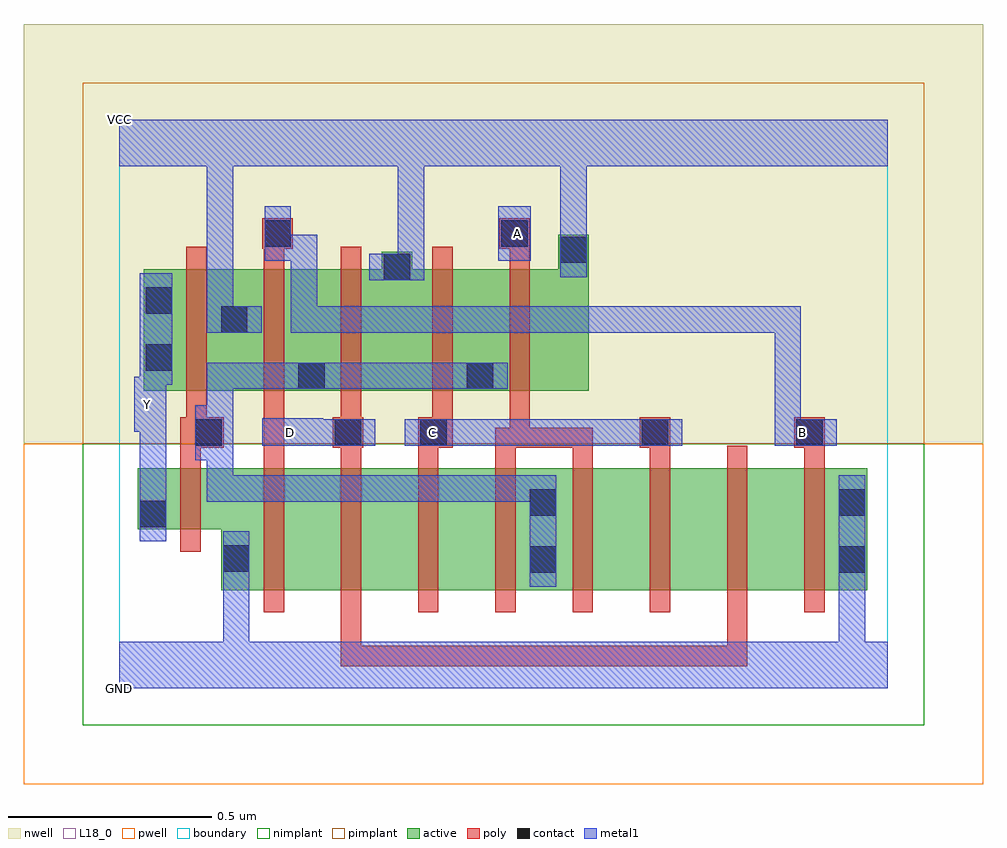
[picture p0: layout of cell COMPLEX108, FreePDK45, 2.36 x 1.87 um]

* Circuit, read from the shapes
.subckt COMPLEX108 A B C D GND VCC Y
M1 GND n1 Y VSUBS nfet w=0.15u l=0.05u
M2 n2 B GND VSUBS nfet w=0.3u l=0.05u
M3 n3 D n2 VSUBS nfet w=0.3u l=0.05u
M4 n4 C n3 VSUBS nfet w=0.3u l=0.05u
M5 n1 A n4 VSUBS nfet w=0.3u l=0.05u
M6 n5 A n1 VSUBS nfet w=0.3u l=0.05u
M7 n6 C n5 VSUBS nfet w=0.3u l=0.05u
M8 n7 D n6 VSUBS nfet w=0.3u l=0.05u
M9 GND B n7 VSUBS nfet w=0.3u l=0.05u
M10 VCC n1 Y n8 pfet w=0.3u l=0.05u
M11 n1 B VCC n8 pfet w=0.3u l=0.05u
M12 VCC D n1 n8 pfet w=0.3u l=0.05u
M13 n1 C VCC n8 pfet w=0.3u l=0.05u
M14 VCC A n1 n8 pfet w=0.3u l=0.05u
.ends

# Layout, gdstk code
import gdstk
lib = gdstk.Library(unit=1e-6, precision=1e-09)
def R(c, l, rs):  # rectangles x0, y0, x1, y1
    for r in rs: c.add(gdstk.rectangle(r[:2], r[2:], *l))
def A(c, l, x, y, w, h, nx, ny, dx, dy):  # array of equal rectangles
    R(c, l, [(x+i*dx, y+j*dy, x+i*dx+w, y+j*dy+h) for i in range(nx) for j in range(ny)])
active = (1, 0)
pwell = (2, 0)
nwell = (3, 0)
nimplant = (4, 0)
pimplant = (5, 0)
poly = (9, 0)
contact = (10, 0)
metal1 = (11, 0)
L18_0 = (18, 0)
boundary = (235, 0)

complex108 = lib.new_cell('COMPLEX108')
R(complex108, active, [(0.25,0.242,0.475,0.542), (0.25,0.242,0.325,0.392), (0.475,0.242,0.665,0.542), (0.665,0.242,0.855,0.542), (0.855,0.242,1.08,0.542), (1.005,0.242,1.235,0.542), (1.005,0.242,1.08,0.535), (1.235,0.242,1.425,0.542), (1.425,0.242,1.615,0.542), (1.615,0.242,1.84,0.542), (1.765,0.242,1.84,0.542), (0.045,0.392,0.12,0.542), (0.045,0.392,0.325,0.542), (0.06,0.732,0.135,1.032), (0.06,0.732,0.32,1.032), (0.245,0.732,0.51,1.032), (0.435,0.732,0.72,1.032), (0.435,0.732,0.51,0.957), (0.645,0.732,0.925,1.032), (0.85,0.732,1.155,1.032), (0.85,0.732,0.925,0.897), (1.08,0.732,1.155,1.117), (0.245,0.87,0.32,1.032), (0.645,0.957,0.72,1.075)])
R(complex108, pwell, [(-0.235,-0.235,2.125,0.602)])
R(complex108, nwell, [(-0.235,0.602,2.125,1.635)])
R(complex108, nimplant, [(-0.09,-0.09,1.98,0.602)])
R(complex108, pimplant, [(-0.09,0.602,1.98,1.49)])
A(complex108, poly, 0.355, 0.187, 0.05, 0.41, 8, 1, 0.19, 0)
A(complex108, poly, 0.355, 0.547, 0.05, 0.095, 6, 1, 0.19, 0)
A(complex108, poly, 0.165, 0.677, 0.05, 0.41, 3, 1, 0.19, 0)
R(complex108, poly, [(0.545,0.055,0.595,0.237), (0.545,0.055,0.595,0.105), (0.545,0.055,0.595,0.105), (0.545,0.055,0.595,0.105), (0.545,0.055,0.842,0.105), (0.792,0.055,0.842,0.105), (0.792,0.055,0.975,0.105), (0.925,0.055,0.975,0.105), (0.925,0.055,0.975,0.105), (0.925,0.055,0.975,0.105), (0.925,0.055,1.142,0.105), (1.092,0.055,1.142,0.105), (1.092,0.055,1.142,0.105), (1.092,0.055,1.142,0.105), (1.092,0.055,1.297,0.105), (1.247,0.055,1.297,0.105), (1.247,0.055,1.297,0.105), (1.247,0.055,1.297,0.105), (1.247,0.055,1.545,0.105), (1.495,0.055,1.545,0.237), (1.495,0.055,1.545,0.105), (1.495,0.055,1.545,0.105), (1.495,0.055,1.545,0.105), (0.15,0.337,0.2,0.597), (0.15,0.547,0.2,0.642), (1.685,0.547,1.735,0.642), (0.15,0.592,0.257,0.667), (0.355,0.592,0.405,0.642), (0.355,0.592,0.405,0.727), (0.525,0.592,0.6,0.667), (0.735,0.592,0.82,0.667), (0.925,0.592,1.01,0.642), (0.96,0.592,1.165,0.642), (0.96,0.592,1.01,0.727), (1.115,0.592,1.165,0.642), (1.115,0.592,1.165,0.642), (1.115,0.592,1.165,0.642), (1.28,0.592,1.355,0.667), (1.66,0.592,1.735,0.667), (0.165,0.617,0.215,0.727), (0.545,0.617,0.595,0.727), (0.77,0.617,0.82,0.727), (0.77,0.677,0.82,1.087), (0.96,0.677,1.01,1.087), (0.355,1.037,0.405,1.132), (0.96,1.037,1.01,1.132), (0.352,1.082,0.427,1.157), (0.935,1.082,1.01,1.157)])
R(complex108, contact, [(1.01,0.285,1.075,0.35), (1.77,0.285,1.835,0.35), (0.255,0.287,0.32,0.352), (0.05,0.397,0.115,0.462), (1.01,0.425,1.075,0.49), (1.77,0.425,1.835,0.49), (0.187,0.597,0.252,0.662), (0.53,0.597,0.595,0.662), (0.74,0.597,0.805,0.662), (1.285,0.597,1.35,0.662), (1.665,0.597,1.73,0.662), (0.44,0.737,0.505,0.802), (0.855,0.737,0.92,0.802), (0.065,0.782,0.13,0.847), (0.25,0.875,0.315,0.94), (0.065,0.922,0.13,0.987), (0.65,1.005,0.715,1.07), (1.085,1.047,1.15,1.112), (0.357,1.087,0.422,1.152), (0.94,1.087,1.005,1.152)])
R(complex108, metal1, [(0,0,1.89,0.115), (0.255,0.05,0.32,0.115), (0.255,0.05,0.32,0.115), (0.255,0.05,0.32,0.317), (1.77,0.05,1.835,0.315), (1.01,0.25,1.075,0.525), (1.77,0.25,1.835,0.315), (1.77,0.25,1.835,0.315), (1.77,0.25,1.835,0.525), (0.255,0.252,0.32,0.387), (0.05,0.362,0.115,0.497), (0.05,0.432,0.115,0.697), (0.215,0.46,0.28,0.525), (0.215,0.46,0.422,0.525), (0.215,0.46,0.28,0.697), (0.357,0.46,0.422,0.525), (0.357,0.46,0.422,0.525), (0.357,0.46,0.422,0.525), (0.357,0.46,0.56,0.525), (0.495,0.46,0.56,0.525), (0.495,0.46,0.702,0.525), (0.637,0.46,0.702,0.525), (0.637,0.46,0.86,0.525), (0.795,0.46,0.86,0.525), (0.795,0.46,0.86,0.525), (0.795,0.46,0.86,0.525), (0.795,0.46,1.04,0.525), (0.975,0.46,1.04,0.525), (0.975,0.46,1.075,0.525), (0.187,0.562,0.252,0.697), (0.352,0.597,0.502,0.665), (0.437,0.597,0.56,0.662), (0.495,0.597,0.63,0.662), (0.702,0.597,0.84,0.662), (0.775,0.597,0.84,0.662), (0.775,0.597,0.84,0.662), (0.775,0.597,1.04,0.662), (0.975,0.597,1.04,0.662), (0.975,0.597,1.177,0.662), (1.112,0.597,1.177,0.662), (1.112,0.597,1.177,0.662), (1.112,0.597,1.177,0.662), (1.112,0.597,1.315,0.662), (1.25,0.597,1.315,0.662), (1.25,0.597,1.315,0.662), (1.25,0.597,1.385,0.662), (1.612,0.597,1.677,0.662), (1.612,0.597,1.677,0.662), (1.612,0.597,1.765,0.662), (1.612,0.597,1.677,0.94), (0.037,0.632,0.115,0.767), (0.187,0.632,0.28,0.697), (0.215,0.632,0.28,0.697), (0.215,0.632,0.28,0.802), (0.05,0.702,0.115,0.812), (0.215,0.737,0.28,0.802), (0.215,0.737,0.422,0.802), (0.357,0.737,0.422,0.802), (0.357,0.737,0.47,0.802), (0.405,0.737,0.54,0.802), (0.475,0.737,0.56,0.802), (0.495,0.737,0.56,0.802), (0.495,0.737,0.697,0.802), (0.632,0.737,0.697,0.802), (0.632,0.737,0.697,0.802), (0.632,0.737,0.697,0.802), (0.632,0.737,0.885,0.802), (0.82,0.737,0.955,0.802), (0.05,0.747,0.13,1.022), (0.215,0.875,0.35,0.94), (0.215,0.875,0.28,1.35), (0.422,0.875,0.487,0.94), (0.422,0.875,0.487,0.94), (0.422,0.875,0.487,0.94), (0.422,0.875,0.56,0.94), (0.422,0.875,0.487,1.117), (0.495,0.875,0.56,0.94), (0.495,0.875,0.702,0.94), (0.637,0.875,0.702,0.94), (0.637,0.875,0.86,0.94), (0.795,0.875,0.86,0.94), (0.795,0.875,0.86,0.94), (0.795,0.875,0.86,0.94), (0.795,0.875,1.04,0.94), (0.975,0.875,1.04,0.94), (0.975,0.875,1.177,0.94), (1.112,0.875,1.177,0.94), (1.112,0.875,1.177,0.94), (1.112,0.875,1.177,0.94), (1.112,0.875,1.177,0.94), (1.112,0.875,1.177,0.94), (1.112,0.875,1.402,0.94), (1.337,0.875,1.402,0.94), (1.337,0.875,1.402,0.94), (1.337,0.875,1.402,0.94), (1.337,0.875,1.54,0.94), (1.475,0.875,1.54,0.94), (1.475,0.875,1.54,0.94), (1.475,0.875,1.54,0.94), (1.475,0.875,1.677,0.94), (1.612,0.875,1.677,0.94), (0.615,1.005,0.75,1.07), (0.685,1.005,0.75,1.35), (1.085,1.012,1.15,1.147), (0.357,1.052,0.422,1.187), (0.357,1.052,0.487,1.117), (0.422,1.052,0.487,1.117), (0.932,1.052,1.012,1.187), (1.085,1.082,1.15,1.147), (1.085,1.082,1.15,1.147), (1.085,1.082,1.15,1.35), (0,1.285,1.89,1.4), (0.215,1.285,0.28,1.35), (0.215,1.285,0.28,1.35), (0.215,1.285,0.28,1.35), (0.215,1.285,0.28,1.35), (0.685,1.285,0.75,1.35), (0.685,1.285,0.75,1.35), (0.685,1.285,0.75,1.35), (0.685,1.285,0.75,1.35), (1.085,1.285,1.15,1.35), (1.085,1.285,1.15,1.35)])
R(complex108, L18_0, [(0,0,1.89,0.115), (0.255,0.05,0.32,0.115), (0.255,0.05,0.32,0.115), (0.255,0.05,0.32,0.317), (1.77,0.05,1.835,0.315), (1.77,0.25,1.835,0.315), (1.77,0.25,1.835,0.315), (1.77,0.25,1.835,0.525), (0.255,0.252,0.32,0.387), (0.05,0.362,0.115,0.497), (0.05,0.432,0.115,0.697), (0.352,0.597,0.502,0.665), (0.387,0.597,0.452,0.662), (0.437,0.597,0.56,0.662), (0.495,0.597,0.63,0.662), (0.702,0.597,0.84,0.662), (0.737,0.597,0.802,0.662), (0.775,0.597,0.84,0.662), (0.775,0.597,0.84,0.662), (0.775,0.597,1.04,0.662), (0.975,0.597,1.04,0.662), (0.975,0.597,1.177,0.662), (1.112,0.597,1.177,0.662), (1.112,0.597,1.177,0.662), (1.112,0.597,1.177,0.662), (1.112,0.597,1.315,0.662), (1.25,0.597,1.315,0.662), (1.25,0.597,1.315,0.662), (1.25,0.597,1.385,0.662), (1.612,0.597,1.677,0.662), (1.612,0.597,1.677,0.662), (1.612,0.597,1.677,0.94), (1.612,0.597,1.765,0.662), (1.647,0.597,1.712,0.662), (0.037,0.632,0.115,0.767), (0.037,0.667,0.102,0.732), (0.05,0.702,0.115,0.812), (0.05,0.747,0.13,1.022), (0.215,0.875,0.35,0.94), (0.215,0.875,0.28,1.35), (0.422,0.875,0.487,0.94), (0.422,0.875,0.487,0.94), (0.422,0.875,0.487,0.94), (0.422,0.875,0.487,1.117), (0.422,0.875,0.56,0.94), (0.495,0.875,0.56,0.94), (0.495,0.875,0.702,0.94), (0.637,0.875,0.702,0.94), (0.637,0.875,0.86,0.94), (0.795,0.875,0.86,0.94), (0.795,0.875,0.86,0.94), (0.795,0.875,0.86,0.94), (0.795,0.875,1.04,0.94), (0.975,0.875,1.04,0.94), (0.975,0.875,1.177,0.94), (1.112,0.875,1.177,0.94), (1.112,0.875,1.177,0.94), (1.112,0.875,1.177,0.94), (1.112,0.875,1.177,0.94), (1.112,0.875,1.177,0.94), (1.112,0.875,1.402,0.94), (1.337,0.875,1.402,0.94), (1.337,0.875,1.402,0.94), (1.337,0.875,1.402,0.94), (1.337,0.875,1.54,0.94), (1.475,0.875,1.54,0.94), (1.475,0.875,1.54,0.94), (1.475,0.875,1.54,0.94), (1.475,0.875,1.677,0.94), (1.612,0.875,1.677,0.94), (0.615,1.005,0.75,1.07), (0.685,1.005,0.75,1.35), (1.085,1.012,1.15,1.147), (0.357,1.052,0.422,1.187), (0.357,1.052,0.487,1.117), (0.422,1.052,0.487,1.117), (0.932,1.052,1.012,1.187), (1.085,1.082,1.15,1.147), (1.085,1.082,1.15,1.147), (1.085,1.082,1.15,1.35), (0.947,1.087,1.012,1.152), (0,1.285,1.89,1.4), (0.215,1.285,0.28,1.35), (0.215,1.285,0.28,1.35), (0.215,1.285,0.28,1.35), (0.215,1.285,0.28,1.35), (0.685,1.285,0.75,1.35), (0.685,1.285,0.75,1.35), (0.685,1.285,0.75,1.35), (0.685,1.285,0.75,1.35), (1.085,1.285,1.15,1.35), (1.085,1.285,1.15,1.35)])
R(complex108, boundary, [(0,0,1.89,1.4)])
complex108.add(gdstk.Label('A', (0.98,1.12), layer=11, texttype=0))
complex108.add(gdstk.Label('B', (1.68,0.63), layer=11, texttype=0))
complex108.add(gdstk.Label('C', (0.77,0.63), layer=11, texttype=0))
complex108.add(gdstk.Label('D', (0.42,0.63), layer=11, texttype=0))
complex108.add(gdstk.Label('Y', (0.07,0.7), layer=11, texttype=0))
complex108.add(gdstk.Label('VCC', (0,1.4), layer=11, texttype=0))
complex108.add(gdstk.Label('GND', (0,0), layer=11, texttype=0))

lib.write_gds('COMPLEX108.gds')
